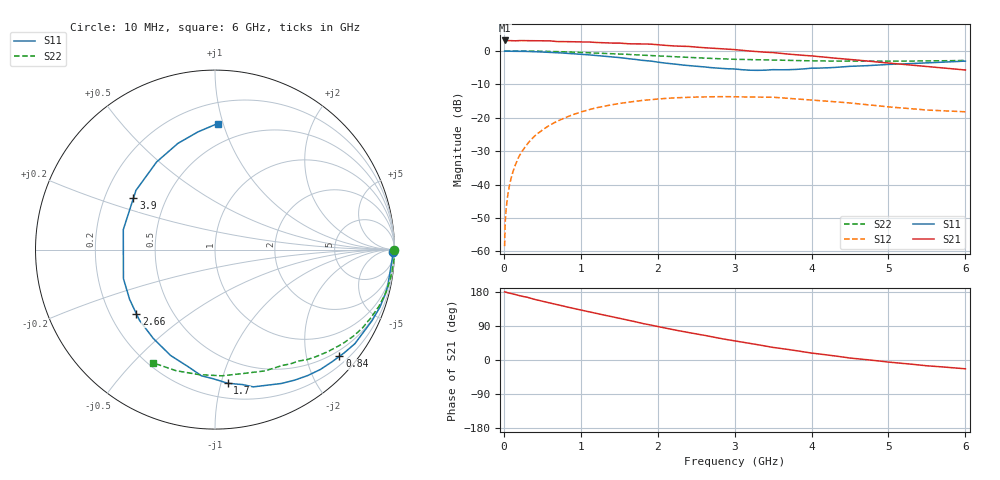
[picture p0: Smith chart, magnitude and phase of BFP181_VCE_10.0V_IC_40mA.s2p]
! Infineon Technologies  Discrete & RF Semiconductors
! BFP181
! VCE = 10.0V,  IC =  40 mA
! Common Emitter S-Parameters:  Jan 2016
# GHz  S  MA  R  50
!  f  S11  S21  S12  S22
! GHz  MAG  ANG  MAG  ANG  MAG  ANG  MAG  ANG
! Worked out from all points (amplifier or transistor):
!   210 points, 10 MHz to 6 GHz, reference 50 ohm
!   highest |S21| = 3.1 dB at 10 MHz (marker M1)
!   |S21| within 3 dB of that: start of sweep to 3.118 GHz
!   unconditionally stable (mu >= 1): 3.808 GHz to end of sweep
!   at 185 MHz: K = 0.06, MSG = 17.6 dB, |S12| = -32.2 dB
!   at 1.52 GHz: K = 0.44, MSG = 9.0 dB, |S12| = -15.7 dB
!   at 6 GHz: K = 1.47, MAG = 2.2 dB, |S12| = -18.2 dB
!   S11 on the Smith chart (normalised r, x): 10 MHz: open; 840 MHz: 0.37, -2.66; 1.7 GHz: 0.31, -1.05; 2.66 GHz: 0.31, -0.33; 3.9 GHz: 0.32, +0.26; 6 GHz: 0.35, +0.96
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0.01  0.9894 -0.7  1.429 179.8  0.0012 88.6  0.9988 -0.2
0.015  0.9875 -0.9  1.424 179.7  0.0021 88.0  0.9981 -0.3
0.02  0.9857 -1.1  1.419 179.6  0.003 87.7  0.9975 -0.4
0.035  0.988 -1.7  1.422 178.5  0.0049 89.4  0.9975 -0.9
0.06  0.9891 -2.8  1.424 177.0  0.0081 88.6  0.9979 -1.5
0.12  0.9842 -6.0  1.415 174.2  0.0158 85.0  0.9986 -2.9
0.195  0.9822 -9.5  1.425 170.3  0.026 83.0  0.9969 -4.8
0.42  0.9699 -20.3  1.417 159.0  0.0555 75.0  0.989 -10.2
0.84  0.9135 -40.6  1.371 139.2  0.1046 59.9  0.9618 -20.1
1.02  0.8853 -49.6  1.356 131.0  0.1234 54.1  0.9458 -24.1
1.5  0.794 -74.4  1.306 110.0  0.163 38.9  0.8951 -34.2
1.7  0.7481 -84.6  1.27 101.4  0.1754 33.1  0.8726 -38.0
2.02  0.6724 -102.2  1.229 87.6  0.1915 24.6  0.8387 -43.5
2.4  0.6026 -124.8  1.164 72.5  0.2024 14.5  0.7981 -50.3
2.66  0.5657 -140.7  1.102 63.1  0.2053 8.8  0.7717 -54.2
3.1  0.5214 -168.1  1.016 47.1  0.2049 -0.9  0.7426 -61.3
3.5  0.5229 167.7  0.941 33.2  0.2024 -8.8  0.7308 -67.6
3.9  0.5371 147.8  0.855 21.5  0.188 -14.9  0.7115 -74.9
4.1  0.5522 139.1  0.818 15.9  0.1809 -17.7  0.7059 -78.8
4.5  0.5867 123.7  0.745 5.2  0.166 -22.6  0.7043 -86.9
5.1  0.6319 107.0  0.641 -7.3  0.1421 -24.6  0.7015 -99.4
6  0.7025 88.8  0.517 -23.2  0.1226 -18.6  0.7193 -118.8
